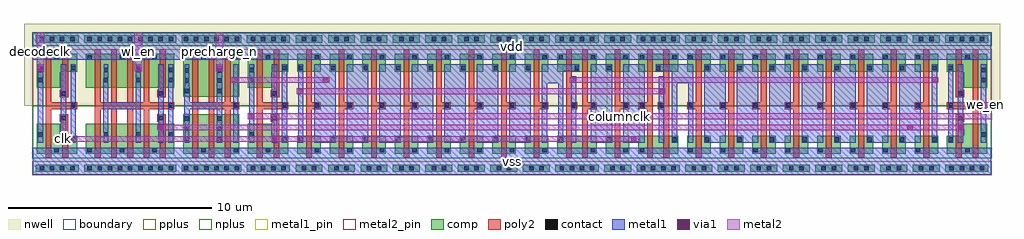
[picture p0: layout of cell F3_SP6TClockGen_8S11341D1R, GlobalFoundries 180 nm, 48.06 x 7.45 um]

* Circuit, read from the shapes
.subckt F3_SP6TClockGen_8S11341D1R clk columnclk decodeclk precharge_n vdd vss we_en wl_en
XM1 vss n1 decodeclk vss nfet_03v3 w=1.475u l=0.28u
XM2 n1 clk vss vss nfet_03v3 w=0.88u l=0.28u
XM3 wl_en n2 vss vss nfet_03v3 w=1.475u l=0.28u m=4
XM4 n2 F3_SP6TNonOvlClock_8S11341D1R_1/firststage[7] vss vss nfet_03v3 w=1.475u l=0.28u
XM5 vss F3_inv_x3_2/i precharge_n vss nfet_03v3 w=1.925u l=0.28u m=3
XM6 vss n3 columnclk vss nfet_03v3 w=1.475u l=0.28u
XM7 n3 clk vss vss nfet_03v3 w=0.88u l=0.28u
XM8 vss F3_inv_x3_2/i F3_SP6TNonOvlClock_8S11341D1R_1/secondstage[8] vss nfet_03v3 w=0.88u l=0.28u
XM9 vss F3_SP6TNonOvlClock_8S11341D1R_1/secondstage[6] F3_inv_x3_2/i vss nfet_03v3 w=0.88u l=0.28u
XM10 vss F3_SP6TNonOvlClock_8S11341D1R_1/secondstage[5] F3_SP6TNonOvlClock_8S11341D1R_1/secondstage[6] vss nfet_03v3 w=0.88u l=0.28u
XM11 vss F3_SP6TNonOvlClock_8S11341D1R_1/secondstage[4] F3_SP6TNonOvlClock_8S11341D1R_1/secondstage[5] vss nfet_03v3 w=0.88u l=0.28u
XM12 vss F3_SP6TNonOvlClock_8S11341D1R_1/secondstage[3] F3_SP6TNonOvlClock_8S11341D1R_1/secondstage[4] vss nfet_03v3 w=0.88u l=0.28u
XM13 vss F3_SP6TNonOvlClock_8S11341D1R_1/secondstage[2] F3_SP6TNonOvlClock_8S11341D1R_1/secondstage[3] vss nfet_03v3 w=0.88u l=0.28u
XM14 vss F3_SP6TNonOvlClock_8S11341D1R_1/secondstage[1] F3_SP6TNonOvlClock_8S11341D1R_1/secondstage[2] vss nfet_03v3 w=0.88u l=0.28u
XM15 vss F3_SP6TNonOvlClock_8S11341D1R_1/secondstage[0] F3_SP6TNonOvlClock_8S11341D1R_1/secondstage[1] vss nfet_03v3 w=0.88u l=0.28u
XM16 n4 F3_SP6TNonOvlClock_8S11341D1R_1/firststage[8] F3_SP6TNonOvlClock_8S11341D1R_1/secondstage[0] vss nfet_03v3 w=0.88u l=0.28u
XM17 vss F3_SP6TNonOvlClock_8S11341D1R_1/F3_nand2_x0_9/i0 n4 vss nfet_03v3 w=0.88u l=0.28u
XM18 vss clk F3_SP6TNonOvlClock_8S11341D1R_1/F3_nand2_x0_9/i0 vss nfet_03v3 w=0.88u l=0.28u
XM19 n5 clk vss vss nfet_03v3 w=0.88u l=0.28u
XM20 F3_SP6TNonOvlClock_8S11341D1R_1/firststage[0] F3_SP6TNonOvlClock_8S11341D1R_1/secondstage[8] n5 vss nfet_03v3 w=0.88u l=0.28u
XM21 F3_SP6TNonOvlClock_8S11341D1R_1/firststage[1] F3_SP6TNonOvlClock_8S11341D1R_1/firststage[0] vss vss nfet_03v3 w=0.88u l=0.28u
XM22 F3_SP6TNonOvlClock_8S11341D1R_1/firststage[2] F3_SP6TNonOvlClock_8S11341D1R_1/firststage[1] vss vss nfet_03v3 w=0.88u l=0.28u
XM23 F3_SP6TNonOvlClock_8S11341D1R_1/firststage[3] F3_SP6TNonOvlClock_8S11341D1R_1/firststage[2] vss vss nfet_03v3 w=0.88u l=0.28u
XM24 F3_SP6TNonOvlClock_8S11341D1R_1/firststage[4] F3_SP6TNonOvlClock_8S11341D1R_1/firststage[3] vss vss nfet_03v3 w=0.88u l=0.28u
XM25 F3_SP6TNonOvlClock_8S11341D1R_1/firststage[5] F3_SP6TNonOvlClock_8S11341D1R_1/firststage[4] vss vss nfet_03v3 w=0.88u l=0.28u
XM26 F3_SP6TNonOvlClock_8S11341D1R_1/firststage[6] F3_SP6TNonOvlClock_8S11341D1R_1/firststage[5] vss vss nfet_03v3 w=0.88u l=0.28u
XM27 F3_SP6TNonOvlClock_8S11341D1R_1/firststage[7] F3_SP6TNonOvlClock_8S11341D1R_1/firststage[6] vss vss nfet_03v3 w=0.88u l=0.28u
XM28 F3_SP6TNonOvlClock_8S11341D1R_1/firststage[8] F3_SP6TNonOvlClock_8S11341D1R_1/firststage[7] vss vss nfet_03v3 w=0.88u l=0.28u
XM29 vss F3_SP6TNonOvlClock_8S11341D1R_1/firststage[7] n6 vss nfet_03v3 w=0.88u l=0.28u
XM30 we_en n6 vss vss nfet_03v3 w=1.475u l=0.28u
XM31 vdd n1 decodeclk vdd pfet_03v3 w=1.675u l=0.28u
XM32 n1 clk vdd vdd pfet_03v3 w=0.88u l=0.28u
XM33 wl_en n2 vdd vdd pfet_03v3 w=1.675u l=0.28u m=4
XM34 n2 F3_SP6TNonOvlClock_8S11341D1R_1/firststage[7] vdd vdd pfet_03v3 w=1.675u l=0.28u
XM35 vdd F3_inv_x3_2/i precharge_n vdd pfet_03v3 w=2.125u l=0.28u m=3
XM36 vdd n3 columnclk vdd pfet_03v3 w=1.675u l=0.28u
XM37 n3 clk vdd vdd pfet_03v3 w=0.88u l=0.28u
XM38 vdd F3_inv_x3_2/i F3_SP6TNonOvlClock_8S11341D1R_1/secondstage[8] vdd pfet_03v3 w=0.88u l=0.28u
XM39 vdd F3_SP6TNonOvlClock_8S11341D1R_1/secondstage[6] F3_inv_x3_2/i vdd pfet_03v3 w=0.88u l=0.28u
XM40 vdd F3_SP6TNonOvlClock_8S11341D1R_1/secondstage[5] F3_SP6TNonOvlClock_8S11341D1R_1/secondstage[6] vdd pfet_03v3 w=0.88u l=0.28u
XM41 vdd F3_SP6TNonOvlClock_8S11341D1R_1/secondstage[4] F3_SP6TNonOvlClock_8S11341D1R_1/secondstage[5] vdd pfet_03v3 w=0.88u l=0.28u
XM42 vdd F3_SP6TNonOvlClock_8S11341D1R_1/secondstage[3] F3_SP6TNonOvlClock_8S11341D1R_1/secondstage[4] vdd pfet_03v3 w=0.88u l=0.28u
XM43 vdd F3_SP6TNonOvlClock_8S11341D1R_1/secondstage[2] F3_SP6TNonOvlClock_8S11341D1R_1/secondstage[3] vdd pfet_03v3 w=0.88u l=0.28u
XM44 vdd F3_SP6TNonOvlClock_8S11341D1R_1/secondstage[1] F3_SP6TNonOvlClock_8S11341D1R_1/secondstage[2] vdd pfet_03v3 w=0.88u l=0.28u
XM45 vdd F3_SP6TNonOvlClock_8S11341D1R_1/secondstage[0] F3_SP6TNonOvlClock_8S11341D1R_1/secondstage[1] vdd pfet_03v3 w=0.88u l=0.28u
XM46 F3_SP6TNonOvlClock_8S11341D1R_1/secondstage[0] F3_SP6TNonOvlClock_8S11341D1R_1/firststage[8] vdd vdd pfet_03v3 w=0.88u l=0.28u
XM47 vdd F3_SP6TNonOvlClock_8S11341D1R_1/F3_nand2_x0_9/i0 F3_SP6TNonOvlClock_8S11341D1R_1/secondstage[0] vdd pfet_03v3 w=0.88u l=0.28u
XM48 vdd clk F3_SP6TNonOvlClock_8S11341D1R_1/F3_nand2_x0_9/i0 vdd pfet_03v3 w=0.88u l=0.28u
XM49 F3_SP6TNonOvlClock_8S11341D1R_1/firststage[0] clk vdd vdd pfet_03v3 w=0.88u l=0.28u
XM50 vdd F3_SP6TNonOvlClock_8S11341D1R_1/secondstage[8] F3_SP6TNonOvlClock_8S11341D1R_1/firststage[0] vdd pfet_03v3 w=0.88u l=0.28u
XM51 F3_SP6TNonOvlClock_8S11341D1R_1/firststage[1] F3_SP6TNonOvlClock_8S11341D1R_1/firststage[0] vdd vdd pfet_03v3 w=0.88u l=0.28u
XM52 F3_SP6TNonOvlClock_8S11341D1R_1/firststage[2] F3_SP6TNonOvlClock_8S11341D1R_1/firststage[1] vdd vdd pfet_03v3 w=0.88u l=0.28u
XM53 F3_SP6TNonOvlClock_8S11341D1R_1/firststage[3] F3_SP6TNonOvlClock_8S11341D1R_1/firststage[2] vdd vdd pfet_03v3 w=0.88u l=0.28u
XM54 F3_SP6TNonOvlClock_8S11341D1R_1/firststage[4] F3_SP6TNonOvlClock_8S11341D1R_1/firststage[3] vdd vdd pfet_03v3 w=0.88u l=0.28u
XM55 F3_SP6TNonOvlClock_8S11341D1R_1/firststage[5] F3_SP6TNonOvlClock_8S11341D1R_1/firststage[4] vdd vdd pfet_03v3 w=0.88u l=0.28u
XM56 F3_SP6TNonOvlClock_8S11341D1R_1/firststage[6] F3_SP6TNonOvlClock_8S11341D1R_1/firststage[5] vdd vdd pfet_03v3 w=0.88u l=0.28u
XM57 F3_SP6TNonOvlClock_8S11341D1R_1/firststage[7] F3_SP6TNonOvlClock_8S11341D1R_1/firststage[6] vdd vdd pfet_03v3 w=0.88u l=0.28u
XM58 F3_SP6TNonOvlClock_8S11341D1R_1/firststage[8] F3_SP6TNonOvlClock_8S11341D1R_1/firststage[7] vdd vdd pfet_03v3 w=0.88u l=0.28u
XM59 vdd F3_SP6TNonOvlClock_8S11341D1R_1/firststage[7] n6 vdd pfet_03v3 w=0.88u l=0.28u
XM60 we_en n6 vdd vdd pfet_03v3 w=1.675u l=0.28u
.ends

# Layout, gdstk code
from math import pi, radians
import gdstk
lib = gdstk.Library(unit=1e-6, precision=1e-09)
def R(c, l, rs):  # rectangles x0, y0, x1, y1
    for r in rs: c.add(gdstk.rectangle(r[:2], r[2:], *l))
def A(c, l, x, y, w, h, nx, ny, dx, dy):  # array of equal rectangles
    R(c, l, [(x+i*dx, y+j*dy, x+i*dx+w, y+j*dy+h) for i in range(nx) for j in range(ny)])
def P(c, l, *ps):  # polygons
    for p in ps: c.add(gdstk.Polygon(p, *l))
boundary = (0, 0)
nwell = (21, 0)
comp = (22, 0)
poly2 = (30, 0)
pplus = (31, 0)
nplus = (32, 0)
contact = (33, 0)
metal1 = (34, 0)
metal1_pin = (34, 10)
via1 = (35, 0)
metal2 = (36, 0)
metal2_pin = (36, 10)

f3_buf_x1 = lib.new_cell('F3_buf_x1')
R(f3_buf_x1, nwell, [(-0.43,3.4,2.83,7.43)])
R(f3_buf_x1, comp, [(0.14,0.14,2.26,0.5), (0.14,6.5,2.26,6.86)])
P(f3_buf_x1, comp, [(1.04,4.28),(1.04,5.075),(0.22,5.075),(0.22,5.955),(2.2,5.955),(2.2,4.28)],
  [(0.22,1.045),(0.22,1.925),(1.04,1.925),(1.04,2.52),(2.2,2.52),(2.2,1.045)])
P(f3_buf_x1, poly2, [(0.66,3.82),(0.66,6.175),(0.94,6.175),(0.94,4.18),(1.07,4.18),(1.07,3.82)],
  [(0.66,0.825),(0.66,2.98),(1.07,2.98),(1.07,2.62),(0.94,2.62),(0.94,0.825)],
  [(1.48,0.825),(1.48,3.22),(0.22,3.22),(0.22,3.58),(1.48,3.58),(1.48,6.175),(1.76,6.175),(1.76,0.825)])
R(f3_buf_x1, pplus, [(-0.02,-0.02,2.42,0.66), (-0.02,3.4,2.42,6.185)])
R(f3_buf_x1, nplus, [(-0.02,0.815,2.42,3.4), (-0.02,6.34,2.42,7.02)])
A(f3_buf_x1, contact, 0.34, 0.21, 0.22, 0.22, 4, 2, 0.5, 6.36)
R(f3_buf_x1, contact, [(1.11,1.115,1.33,1.335), (0.29,1.63,0.51,1.85), (1.91,1.875,2.13,2.095), (0.78,2.69,1,2.91), (0.29,3.29,0.51,3.51), (0.78,3.89,1,4.11), (1.91,4.555,2.13,4.775), (1.91,5.055,2.13,5.275), (0.29,5.15,0.51,5.37), (1.11,5.665,1.33,5.885)])
R(f3_buf_x1, metal1, [(0,0,2.4,1.34), (0.27,1.57,0.53,5.43), (0.76,1.57,1.02,5.43), (1.89,1.57,2.15,5.43), (0,5.66,2.4,7)])
R(f3_buf_x1, metal1_pin, [(0,0,2.4,1.34), (0.76,1.57,1.02,5.43), (1.89,1.57,2.15,5.43), (0,5.66,2.4,7)])
f3_buf_x1.add(gdstk.Label('q', (2.02,3.5), layer=34, texttype=10))
f3_buf_x1.add(gdstk.Label('i', (0.89,3.5), layer=34, texttype=10))
f3_buf_x1.add(gdstk.Label('vss', (1.2,0.67), layer=34, texttype=10))
f3_buf_x1.add(gdstk.Label('vdd', (1.2,6.33), layer=34, texttype=10))

f3_inv_x0 = lib.new_cell('F3_inv_x0')
R(f3_inv_x0, nwell, [(-0.43,3.4,2.03,7.43)])
R(f3_inv_x0, comp, [(0.14,0.14,1.46,0.5), (0.22,1.045,1.38,1.925), (0.22,5.075,1.38,5.955), (0.14,6.5,1.46,6.86)])
P(f3_inv_x0, poly2, [(0.66,0.825),(0.66,3.22),(0.22,3.22),(0.22,3.58),(0.66,3.58),(0.66,6.175),(0.94,6.175),(0.94,0.825)])
R(f3_inv_x0, pplus, [(-0.02,-0.02,1.62,0.66), (-0.02,3.4,1.62,6.185)])
R(f3_inv_x0, nplus, [(-0.02,0.815,1.62,3.4), (-0.02,6.34,1.62,7.02)])
R(f3_inv_x0, contact, [(0.44,0.21,0.66,0.43), (0.94,0.21,1.16,0.43), (0.29,1.115,0.51,1.335), (1.09,1.63,1.31,1.85), (0.29,3.29,0.51,3.51), (1.09,5.15,1.31,5.37), (0.29,5.665,0.51,5.885), (0.44,6.57,0.66,6.79), (0.94,6.57,1.16,6.79)])
R(f3_inv_x0, metal1, [(0,0,1.6,1.34), (0.27,1.57,0.53,5.43), (1.07,1.57,1.33,5.43), (0,5.66,1.6,7)])
R(f3_inv_x0, metal1_pin, [(0,0,1.6,1.34), (0.27,1.57,0.53,5.43), (1.07,1.57,1.33,5.43), (0,5.66,1.6,7)])
f3_inv_x0.add(gdstk.Label('i', (0.4,3.5), layer=34, texttype=10))
f3_inv_x0.add(gdstk.Label('nq', (1.2,3.5), layer=34, texttype=10))
f3_inv_x0.add(gdstk.Label('vdd', (0.8,6.33), layer=34, texttype=10))
f3_inv_x0.add(gdstk.Label('vss', (0.8,0.67), layer=34, texttype=10))

f3_nand2_x0 = lib.new_cell('F3_nand2_x0')
R(f3_nand2_x0, nwell, [(-0.43,3.4,2.83,7.43)])
R(f3_nand2_x0, comp, [(0.14,0.14,2.26,0.5), (0.22,1.045,2.18,1.925), (0.22,5.075,2.18,5.955), (0.14,6.5,2.26,6.86)])
P(f3_nand2_x0, poly2, [(1.46,0.825),(1.46,3.22),(1.18,3.22),(1.18,3.58),(1.46,3.58),(1.46,6.175),(1.74,6.175),(1.74,0.825)],
  [(0.66,0.825),(0.66,3.22),(0.22,3.22),(0.22,3.58),(0.66,3.58),(0.66,6.175),(0.94,6.175),(0.94,0.825)])
R(f3_nand2_x0, pplus, [(-0.02,-0.02,2.42,0.66), (-0.02,3.4,2.42,6.185)])
R(f3_nand2_x0, nplus, [(-0.02,0.815,2.42,3.4), (-0.02,6.34,2.42,7.02)])
A(f3_nand2_x0, contact, 0.34, 0.21, 0.22, 0.22, 4, 2, 0.5, 6.36)
R(f3_nand2_x0, contact, [(0.29,1.115,0.51,1.335), (1.89,1.63,2.11,1.85), (0.29,3.29,0.51,3.51), (1.25,3.29,1.47,3.51), (1.09,5.15,1.31,5.37), (0.29,5.665,0.51,5.885), (1.89,5.665,2.11,5.885)])
R(f3_nand2_x0, metal1, [(0,0,2.4,1.34), (0.27,1.57,0.53,5.43), (1.23,1.57,1.49,4.86), (0,5.66,2.4,7)])
P(f3_nand2_x0, metal1, [(1.87,1.57),(1.87,5.09),(1.085,5.09),(1.085,5.43),(2.13,5.43),(2.13,1.57)])
R(f3_nand2_x0, metal1_pin, [(0,0,2.4,1.34), (0.27,1.57,0.53,5.43), (1.23,1.57,1.49,4.86), (1.87,1.57,2.13,5.43), (0,5.66,2.4,7)])
f3_nand2_x0.add(gdstk.Label('nq', (2,3.5), layer=34, texttype=10))
f3_nand2_x0.add(gdstk.Label('i1', (1.36,3.215), layer=34, texttype=10))
f3_nand2_x0.add(gdstk.Label('i0', (0.4,3.5), layer=34, texttype=10))
f3_nand2_x0.add(gdstk.Label('vdd', (1.2,6.33), layer=34, texttype=10))
f3_nand2_x0.add(gdstk.Label('vss', (1.2,0.67), layer=34, texttype=10))

f3_sp6tnonovlclock_8s113 = lib.new_cell('F3_SP6TNonOvlClock_8S11341D1R')
R(f3_sp6tnonovlclock_8s113, boundary, [(0,0,32,7)])
A(f3_sp6tnonovlclock_8s113, metal1, 1.07, 1.57, 1.06, 3.86, 7, 1, 1.6, 0)
A(f3_sp6tnonovlclock_8s113, metal1, 20.27, 1.57, 1.06, 3.86, 7, 1, 1.6, 0)
R(f3_sp6tnonovlclock_8s113, metal1, [(0,0,32,1.34), (14.8,1.57,15.6,5.43), (16.4,1.57,17.2,5.43), (0.27,3.92,0.53,4.3), (18.03,3.92,18.29,4.3), (13.71,4.48,13.97,4.86), (31.47,4.48,31.73,4.86), (12.27,4.51,13.2,5.43), (18.8,4.51,19.73,5.43), (0,5.66,32,7)])
A(f3_sp6tnonovlclock_8s113, metal1_pin, 1.07, 1.57, 1.06, 3.86, 7, 1, 1.6, 0)
A(f3_sp6tnonovlclock_8s113, metal1_pin, 20.27, 1.57, 1.06, 3.86, 7, 1, 1.6, 0)
R(f3_sp6tnonovlclock_8s113, metal1_pin, [(0,0,32,1.34), (12.27,4.51,13.2,5.43), (18.8,4.51,19.73,5.43), (0,5.66,32,7)])
R(f3_sp6tnonovlclock_8s113, via1, [(16.67,1.63,16.93,1.89), (0.27,3.98,0.53,4.24), (18.03,3.98,18.29,4.24), (13.71,4.54,13.97,4.8), (31.47,4.54,31.73,4.8)])
R(f3_sp6tnonovlclock_8s113, metal2, [(16.54,1.62,17.06,1.9), (0.21,3.97,18.35,4.25), (13.65,4.53,31.79,4.81)])
R(f3_sp6tnonovlclock_8s113, metal2_pin, [(16.54,1.62,17.06,1.9), (0.21,3.97,18.35,4.25), (13.65,4.53,31.79,4.81)])
f3_sp6tnonovlclock_8s113.add(gdstk.Reference(f3_inv_x0, (19.2,0)))
f3_sp6tnonovlclock_8s113.add(gdstk.Reference(f3_inv_x0, (20.8,0)))
f3_sp6tnonovlclock_8s113.add(gdstk.Reference(f3_inv_x0, (22.4,0)))
f3_sp6tnonovlclock_8s113.add(gdstk.Reference(f3_inv_x0, (24,0)))
f3_sp6tnonovlclock_8s113.add(gdstk.Reference(f3_inv_x0, (25.6,0)))
f3_sp6tnonovlclock_8s113.add(gdstk.Reference(f3_inv_x0, (27.2,0)))
f3_sp6tnonovlclock_8s113.add(gdstk.Reference(f3_inv_x0, (28.8,0)))
f3_sp6tnonovlclock_8s113.add(gdstk.Reference(f3_inv_x0, (30.4,0)))
f3_sp6tnonovlclock_8s113.add(gdstk.Reference(f3_nand2_x0, (16.8,0)))
f3_sp6tnonovlclock_8s113.add(gdstk.Reference(f3_nand2_x0, (15.2,0), rotation=pi, x_reflection=True))
f3_sp6tnonovlclock_8s113.add(gdstk.Reference(f3_inv_x0, (1.6,0), rotation=pi, x_reflection=True))
f3_sp6tnonovlclock_8s113.add(gdstk.Reference(f3_inv_x0, (3.2,0), rotation=pi, x_reflection=True))
f3_sp6tnonovlclock_8s113.add(gdstk.Reference(f3_inv_x0, (4.8,0), rotation=pi, x_reflection=True))
f3_sp6tnonovlclock_8s113.add(gdstk.Reference(f3_inv_x0, (6.4,0), rotation=pi, x_reflection=True))
f3_sp6tnonovlclock_8s113.add(gdstk.Reference(f3_inv_x0, (8,0), rotation=pi, x_reflection=True))
f3_sp6tnonovlclock_8s113.add(gdstk.Reference(f3_inv_x0, (9.6,0), rotation=pi, x_reflection=True))
f3_sp6tnonovlclock_8s113.add(gdstk.Reference(f3_inv_x0, (11.2,0), rotation=pi, x_reflection=True))
f3_sp6tnonovlclock_8s113.add(gdstk.Reference(f3_inv_x0, (12.8,0), rotation=pi, x_reflection=True))
f3_sp6tnonovlclock_8s113.add(gdstk.Reference(f3_inv_x0, (16.8,0), rotation=pi, x_reflection=True))
f3_sp6tnonovlclock_8s113.add(gdstk.Label('secondstage[7]', (1.6,3.5), layer=34, texttype=10))
f3_sp6tnonovlclock_8s113.add(gdstk.Label('firststage[6]', (28.8,3.5), layer=34, texttype=10))
f3_sp6tnonovlclock_8s113.add(gdstk.Label('secondstage[5]', (4.8,3.5), layer=34, texttype=10))
f3_sp6tnonovlclock_8s113.add(gdstk.Label('vdd', (16,6.33), layer=34, texttype=10))
f3_sp6tnonovlclock_8s113.add(gdstk.Label('firststage[3]', (24,3.5), layer=34, texttype=10))
f3_sp6tnonovlclock_8s113.add(gdstk.Label('vss', (16,0.67), layer=34, texttype=10))
f3_sp6tnonovlclock_8s113.add(gdstk.Label('firststage[5]', (27.2,3.5), layer=34, texttype=10))
f3_sp6tnonovlclock_8s113.add(gdstk.Label('secondstage[2]', (9.6,3.5), layer=34, texttype=10))
f3_sp6tnonovlclock_8s113.add(gdstk.Label('secondstage[0]', (12.735,4.97), layer=34, texttype=10))
f3_sp6tnonovlclock_8s113.add(gdstk.Label('secondstage[4]', (6.4,3.5), layer=34, texttype=10))
f3_sp6tnonovlclock_8s113.add(gdstk.Label('firststage[1]', (20.8,3.5), layer=34, texttype=10))
f3_sp6tnonovlclock_8s113.add(gdstk.Label('secondstage[1]', (11.2,3.5), layer=34, texttype=10))
f3_sp6tnonovlclock_8s113.add(gdstk.Label('firststage[0]', (19.265,4.97), layer=34, texttype=10))
f3_sp6tnonovlclock_8s113.add(gdstk.Label('firststage[2]', (22.4,3.5), layer=34, texttype=10))
f3_sp6tnonovlclock_8s113.add(gdstk.Label('firststage[7]', (30.4,3.5), layer=34, texttype=10))
f3_sp6tnonovlclock_8s113.add(gdstk.Label('secondstage[6]', (3.2,3.5), layer=34, texttype=10))
f3_sp6tnonovlclock_8s113.add(gdstk.Label('secondstage[3]', (8,3.5), layer=34, texttype=10))
f3_sp6tnonovlclock_8s113.add(gdstk.Label('firststage[4]', (25.6,3.5), layer=34, texttype=10))
f3_sp6tnonovlclock_8s113.add(gdstk.Label('secondstage[8]', (9.28,4.11), layer=36, texttype=10))
f3_sp6tnonovlclock_8s113.add(gdstk.Label('firststage[8]', (22.72,4.67), layer=36, texttype=10))
f3_sp6tnonovlclock_8s113.add(gdstk.Label('clk', (16.8,1.76), layer=36, texttype=10))

f3_inv_x3 = lib.new_cell('F3_inv_x3')
R(f3_inv_x3, nwell, [(-0.43,3.4,3.63,7.43)])
R(f3_inv_x3, comp, [(0.14,0.14,3.06,0.5), (0.22,1.045,2.98,2.97), (0.22,3.83,2.98,5.955), (0.14,6.5,3.06,6.86)])
P(f3_inv_x3, poly2, [(0.66,0.825),(0.66,3.22),(0.22,3.22),(0.22,3.58),(0.66,3.58),(0.66,6.175),(0.94,6.175),(0.94,3.58),(1.46,3.58),(1.46,6.175),(1.74,6.175),(1.74,3.58),(2.26,3.58),(2.26,6.175),(2.54,6.175),(2.54,0.825),(2.26,0.825),(2.26,3.22),(1.74,3.22),(1.74,0.825),(1.46,0.825),(1.46,3.22),(0.94,3.22),(0.94,0.825)])
R(f3_inv_x3, pplus, [(-0.02,-0.02,3.22,0.66), (-0.02,3.4,3.22,6.185)])
R(f3_inv_x3, nplus, [(-0.02,0.815,3.22,3.4), (-0.02,6.34,3.22,7.02)])
A(f3_inv_x3, contact, 0.24, 0.21, 0.22, 0.22, 6, 2, 0.5, 6.36)
A(f3_inv_x3, contact, 1.09, 1.655, 0.22, 0.22, 1, 3, 0, 0.5)
A(f3_inv_x3, contact, 2.69, 1.655, 0.22, 0.22, 1, 3, 0, 0.5)
A(f3_inv_x3, contact, 1.09, 4.025, 0.22, 0.22, 1, 3, 0, 0.5)
A(f3_inv_x3, contact, 2.69, 4.025, 0.22, 0.22, 1, 3, 0, 0.5)
R(f3_inv_x3, contact, [(0.29,1.115,0.51,1.335), (1.89,1.115,2.11,1.335), (0.29,3.29,0.51,3.51), (0.29,5.665,0.51,5.885), (1.89,5.665,2.11,5.885)])
R(f3_inv_x3, metal1, [(0,0,3.2,1.34), (0.27,1.57,0.53,5.43), (0,5.66,3.2,7)])
P(f3_inv_x3, metal1, [(1.07,1.57),(1.07,5.43),(1.33,5.43),(1.33,3.57),(2.67,3.57),(2.67,4.305),(2.685,4.305),(2.685,5.43),(2.915,5.43),(2.915,4.305),(2.93,4.305),(2.93,2.595),(2.915,2.595),(2.915,1.57),(2.685,1.57),(2.685,2.595),(2.67,2.595),(2.67,3.23),(1.33,3.23),(1.33,1.57)])
R(f3_inv_x3, metal1_pin, [(0,0,3.2,1.34), (0.27,1.57,0.53,5.43), (1.07,1.57,1.33,5.43), (0,5.66,3.2,7)])
f3_inv_x3.add(gdstk.Label('i', (0.4,3.5), layer=34, texttype=10))
f3_inv_x3.add(gdstk.Label('nq', (1.2,3.5), layer=34, texttype=10))
f3_inv_x3.add(gdstk.Label('vdd', (1.6,6.33), layer=34, texttype=10))
f3_inv_x3.add(gdstk.Label('vss', (1.6,0.67), layer=34, texttype=10))

f3_buf_x4 = lib.new_cell('F3_buf_x4')
R(f3_buf_x4, nwell, [(-0.43,3.4,5.23,7.43)])
R(f3_buf_x4, comp, [(0.14,0.14,4.66,0.5), (0.22,1.045,4.58,2.52), (0.22,4.28,4.58,5.955), (0.14,6.5,4.66,6.86)])
P(f3_buf_x4, poly2, [(0.66,3.82),(0.66,6.175),(0.94,6.175),(0.94,4.18),(1.07,4.18),(1.07,3.82)],
  [(0.66,0.825),(0.66,2.98),(1.07,2.98),(1.07,2.62),(0.94,2.62),(0.94,0.825)],
  [(1.46,0.825),(1.46,3.22),(0.22,3.22),(0.22,3.58),(1.46,3.58),(1.46,6.175),(1.74,6.175),(1.74,3.58),(2.26,3.58),(2.26,6.175),(2.54,6.175),(2.54,3.58),(3.06,3.58),(3.06,6.175),(3.34,6.175),(3.34,3.58),(3.86,3.58),(3.86,6.175),(4.14,6.175),(4.14,0.825),(3.86,0.825),(3.86,3.22),(3.34,3.22),(3.34,0.825),(3.06,0.825),(3.06,3.22),(2.54,3.22),(2.54,0.825),(2.26,0.825),(2.26,3.22),(1.74,3.22),(1.74,0.825)])
R(f3_buf_x4, pplus, [(-0.02,-0.02,4.82,0.66), (-0.02,3.4,4.82,6.185)])
R(f3_buf_x4, nplus, [(-0.02,0.815,4.82,3.4), (-0.02,6.34,4.82,7.02)])
A(f3_buf_x4, contact, 0.29, 0.21, 0.22, 0.22, 9, 2, 0.5, 6.36)
A(f3_buf_x4, contact, 1.09, 1.115, 0.22, 0.22, 3, 2, 1.6, 4.55)
A(f3_buf_x4, contact, 0.29, 1.875, 0.22, 0.22, 3, 2, 1.6, 2.68)
A(f3_buf_x4, contact, 0.29, 5.055, 0.22, 0.22, 3, 1, 1.6, 0)
R(f3_buf_x4, contact, [(0.78,2.69,1,2.91), (0.29,3.29,0.51,3.51), (0.78,3.89,1,4.11)])
R(f3_buf_x4, metal1, [(0,0,4.8,1.34), (0.76,1.57,1.02,5.43), (0,5.66,4.8,7)])
P(f3_buf_x4, metal1, [(1.87,1.57),(1.87,5.43),(2.13,5.43),(2.13,3.57),(3.47,3.57),(3.47,4.74),(3.485,4.74),(3.485,5.43),(3.715,5.43),(3.715,4.74),(3.73,4.74),(3.73,2.06),(3.715,2.06),(3.715,1.57),(3.485,1.57),(3.485,2.06),(3.47,2.06),(3.47,3.23),(2.13,3.23),(2.13,1.57)],
  [(0.285,1.57),(0.285,2.06),(0.27,2.06),(0.27,4.74),(0.285,4.74),(0.285,5.43),(0.515,5.43),(0.515,4.74),(0.53,4.74),(0.53,2.06),(0.515,2.06),(0.515,1.57)])
R(f3_buf_x4, metal1_pin, [(0,0,4.8,1.34), (0.76,1.57,1.02,5.43), (1.87,1.57,2.13,5.43), (0,5.66,4.8,7)])
f3_buf_x4.add(gdstk.Label('q', (2,3.5), layer=34, texttype=10))
f3_buf_x4.add(gdstk.Label('i', (0.89,3.5), layer=34, texttype=10))
f3_buf_x4.add(gdstk.Label('vss', (2.4,0.67), layer=34, texttype=10))
f3_buf_x4.add(gdstk.Label('vdd', (2.4,6.33), layer=34, texttype=10))

f3_sp6tclockgen_8s11341d = lib.new_cell('F3_SP6TClockGen_8S11341D1R')
R(f3_sp6tclockgen_8s11341d, boundary, [(0,0,47.2,7)])
R(f3_sp6tclockgen_8s11341d, metal1, [(0,0,47.2,1.34), (1.38,1.57,1.64,1.95), (11.78,1.57,12.04,1.95), (6.18,2.13,6.44,2.51), (43.07,2.13,43.33,2.51), (45.56,2.13,45.82,2.51), (10.65,2.69,10.91,3.07), (46.69,3.25,46.95,3.63), (9.87,4.48,10.13,4.86), (14.27,4.48,14.53,4.86), (0.25,5.05,0.51,5.43), (5.07,5.05,5.33,5.43), (9.07,5.05,9.33,5.43), (0,5.66,47.2,7)])
R(f3_sp6tclockgen_8s11341d, metal1_pin, [(0,0,47.2,1.34), (0,5.66,47.2,7)])
R(f3_sp6tclockgen_8s11341d, via1, [(1.38,1.63,1.64,1.89), (11.78,1.63,12.04,1.89), (6.18,2.19,6.44,2.45), (43.07,2.19,43.33,2.45), (45.56,2.19,45.82,2.45), (10.65,2.75,10.91,3.01), (46.69,3.31,46.95,3.57), (9.87,4.54,10.13,4.8), (14.27,4.54,14.53,4.8), (0.25,5.11,0.51,5.37), (5.07,5.11,5.33,5.37), (9.07,5.11,9.33,5.37)])
R(f3_sp6tclockgen_8s11341d, metal2, [(1.32,1.62,29.86,1.9), (6.12,2.18,45.88,2.46), (10.59,2.74,47.2,3.02), (46.63,3.3,47.2,3.58), (9.81,4.53,14.59,4.81), (0.19,5.1,0.57,7), (5.01,5.1,5.39,7), (9.01,5.1,9.39,7)])
R(f3_sp6tclockgen_8s11341d, metal2_pin, [(1.32,1.62,1.7,1.9), (10.59,2.74,47.2,3.02), (46.63,3.3,47.2,3.58), (0.19,5.1,0.57,7), (5.01,5.1,5.39,7), (9.01,5.1,9.39,7)])
f3_sp6tclockgen_8s11341d.add(gdstk.Reference(f3_buf_x1, (44.8,0)))
f3_sp6tclockgen_8s11341d.add(gdstk.Reference(f3_sp6tnonovlclock_8s113, (12.8,0)))
f3_sp6tclockgen_8s11341d.add(gdstk.Reference(f3_inv_x3, (10.4,0), rotation=pi, x_reflection=True))
f3_sp6tclockgen_8s11341d.add(gdstk.Reference(f3_buf_x4, (7.2,0), rotation=pi, x_reflection=True))
f3_sp6tclockgen_8s11341d.add(gdstk.Reference(f3_buf_x1, (2.4,0), rotation=pi, x_reflection=True))
f3_sp6tclockgen_8s11341d.add(gdstk.Reference(f3_buf_x1, (12.8,0), rotation=pi, x_reflection=True))
f3_sp6tclockgen_8s11341d.add(gdstk.Label('vdd', (23.6,6.33), layer=34, texttype=10))
f3_sp6tclockgen_8s11341d.add(gdstk.Label('vss', (23.6,0.67), layer=34, texttype=10))
f3_sp6tclockgen_8s11341d.add(gdstk.Label('we_en', (46.915,3.44), layer=36, texttype=10))
f3_sp6tclockgen_8s11341d.add(gdstk.Label('columnclk', (28.895,2.88), layer=36, texttype=10))
f3_sp6tclockgen_8s11341d.add(gdstk.Label('precharge_n', (9.2,6.05), layer=36, texttype=10))
f3_sp6tclockgen_8s11341d.add(gdstk.Label('wl_en', (5.2,6.05), layer=36, texttype=10))
f3_sp6tclockgen_8s11341d.add(gdstk.Label('decodeclk', (0.38,6.05), layer=36, texttype=10))
f3_sp6tclockgen_8s11341d.add(gdstk.Label('clk', (1.51,1.76), layer=36, texttype=10))

lib.write_gds('F3_SP6TClockGen_8S11341D1R.gds')
